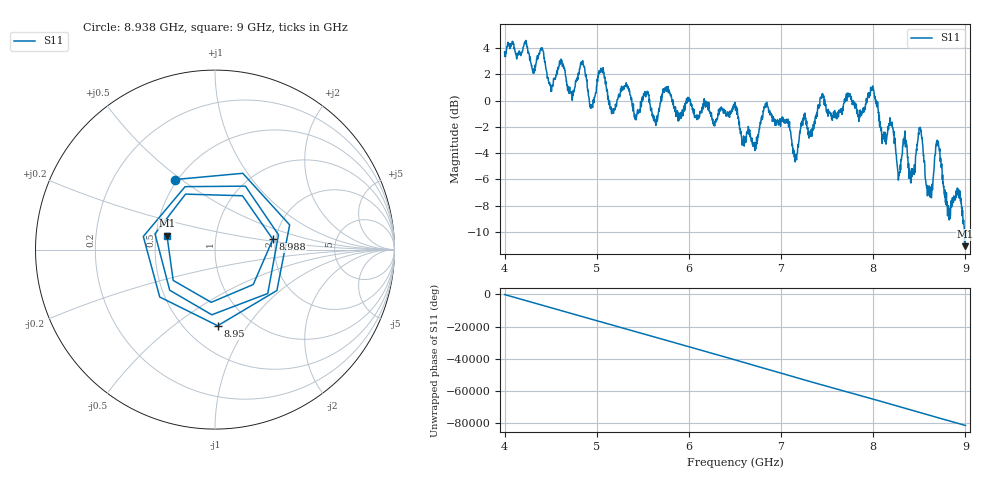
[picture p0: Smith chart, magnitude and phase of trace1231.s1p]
! Created with skrf 1.8.0 (http://scikit-rf.org).
# Hz S RI R 50.0
!freq ReS11 ImS11
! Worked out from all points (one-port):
!   1601 points, 4 GHz to 9 GHz, reference 50 ohm
!   lowest |S11| = -11.1 dB at 9 GHz (marker M1), VSWR 1.77, Z = 28.6 + j4.8 ohm
!   |S11| at or under -10 dB: 8.988824 GHz to end of sweep
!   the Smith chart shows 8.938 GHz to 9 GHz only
!   S11 on the Smith chart (normalised r, x): 8.938 GHz: 0.49, +0.48; 8.95 GHz: 0.71, -0.74; 8.988 GHz: 1.93, +0.25; 9 GHz: 0.57, +0.10
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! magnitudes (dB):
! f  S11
! 4 GHz  3.7
! 4.4 GHz  4.0
! 4.503 GHz  0.7
! 4.625 GHz  2.8
! 4.722 GHz  0.7
! 4.847 GHz  3.0
! 4.944 GHz  -0.3
! 5.047 GHz  2.4
! 5.169 GHz  -0.9
! 5.25 GHz  0.3
! 5.875 GHz  -0.8
! 6.5 GHz  -0.1
! 6.597 GHz  -2.9
! 6.838 GHz  -0.4
! 7.125 GHz  -3.5
! 7.75 GHz  0.5
! 7.994 GHz  1.1
! 8.272 GHz  -6.1
! 8.375 GHz  -4.3
! 8.431 GHz  -5.5
! 8.509 GHz  -2.0
! 8.606 GHz  -6.5
! 8.697 GHz  -3.3
! 8.812 GHz  -8.2
! 8.938 GHz  -7.0
! 8.95 GHz  -7.4
! 8.988 GHz  -9.7
! 9 GHz  -11.1
